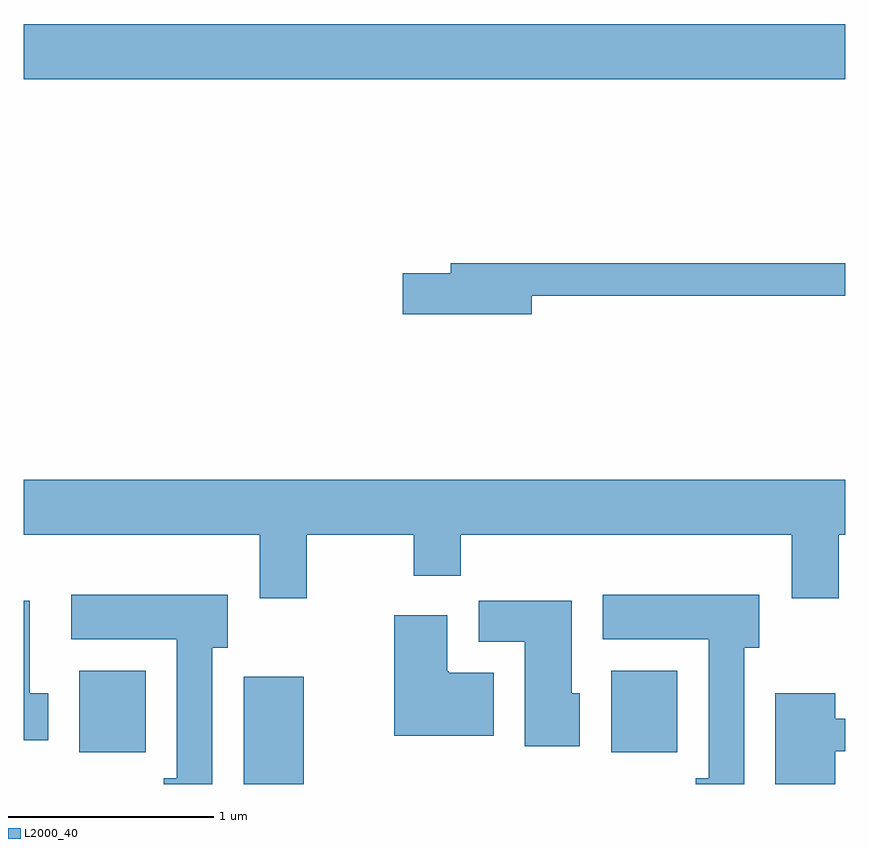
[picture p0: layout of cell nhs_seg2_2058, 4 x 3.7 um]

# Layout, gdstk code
import gdstk
lib = gdstk.Library(unit=1e-6, precision=1e-09)
def R(c, l, rs):  # rectangles x0, y0, x1, y1
    for r in rs: c.add(gdstk.rectangle(r[:2], r[2:], *l))
def P(c, l, *ps):  # polygons
    for p in ps: c.add(gdstk.Polygon(p, *l))
L2000_40 = (2000, 40)

nhs_seg2_2058 = lib.new_cell('nhs_seg2_2058')
R(nhs_seg2_2058, L2000_40, [(246.681,1013.802,246.974,1014.324), (245.881,1013.956,246.204,1014.354), (248.471,1013.956,248.794,1014.354), (245.611,1017.236,249.611,1017.504)])
P(nhs_seg2_2058, L2000_40, [(248.084,1016.181),(249.611,1016.181),(249.611,1016.339),(247.691,1016.339),(247.691,1016.289),(247.456,1016.289),(247.456,1016.091),(248.084,1016.091)],
  [(246.989,1015.016),(247.511,1015.016),(247.511,1014.816),(247.739,1014.816),(247.739,1015.016),(249.351,1015.016),(249.351,1014.706),(249.579,1014.706),(249.579,1015.016),(249.611,1015.016),(249.611,1015.284),(245.611,1015.284),(245.611,1015.016),(246.761,1015.016),(246.761,1014.706),(246.989,1014.706)],
  [(246.529,1014.466),(246.604,1014.466),(246.604,1014.724),(245.841,1014.724),(245.841,1014.506),(246.356,1014.506),(246.356,1013.829),(246.293,1013.829),(246.293,1013.802),(246.529,1013.802)],
  [(249.119,1014.466),(249.194,1014.466),(249.194,1014.724),(248.431,1014.724),(248.431,1014.506),(248.946,1014.506),(248.946,1013.829),(248.883,1013.829),(248.883,1013.802),(249.119,1013.802)],
  [(248.319,1014.244),(248.279,1014.244),(248.279,1014.694),(247.826,1014.694),(247.826,1014.496),(248.051,1014.496),(248.051,1013.986),(248.319,1013.986)],
  [(245.729,1014.244),(245.639,1014.244),(245.639,1014.694),(245.611,1014.694),(245.611,1014.016),(245.729,1014.016)],
  [(247.899,1014.344),(247.68,1014.344),(247.68,1014.35),(247.674,1014.35),(247.674,1014.624),(247.416,1014.624),(247.416,1014.036),(247.899,1014.036)],
  [(249.564,1013.961),(249.611,1013.961),(249.611,1014.119),(249.564,1014.119),(249.564,1014.244),(249.271,1014.244),(249.271,1013.802),(249.564,1013.802)])

lib.write_gds('nhs_seg2_2058.gds')
